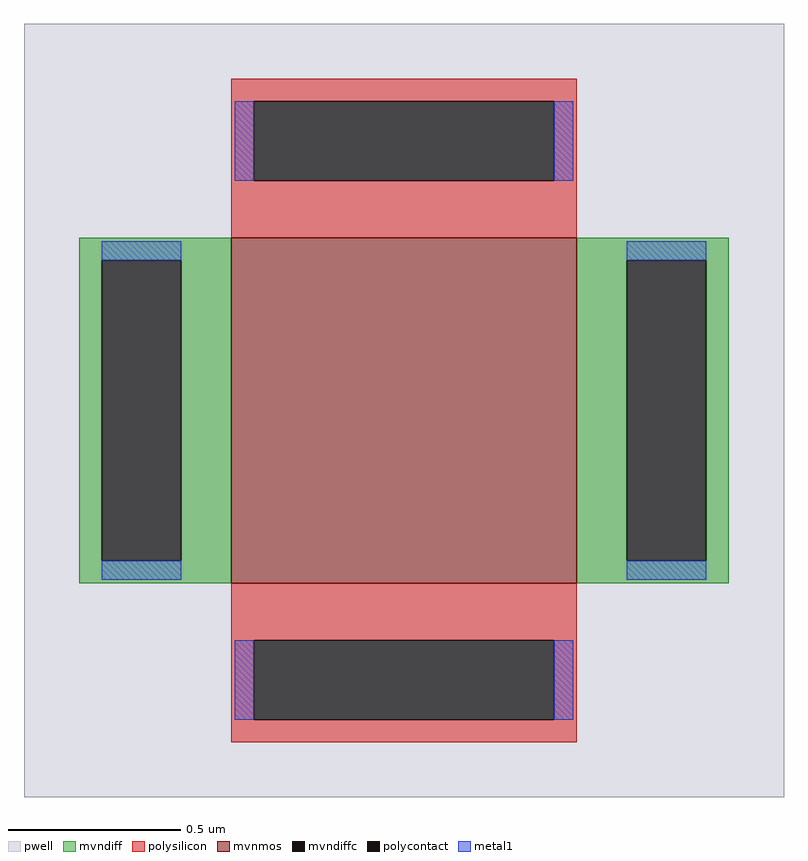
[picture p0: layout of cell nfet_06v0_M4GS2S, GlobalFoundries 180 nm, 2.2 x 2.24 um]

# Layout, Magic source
magic
tech gf180mcuD
magscale 1 10
<< pwell >>
rect -220 -224 220 224
<< mvnmos >>
rect -100 -100 100 100
<< mvndiff >>
rect -188 87 -100 100
rect -188 -87 -175 87
rect -129 -87 -100 87
rect -188 -100 -100 -87
rect 100 87 188 100
rect 100 -87 129 87
rect 175 -87 188 87
rect 100 -100 188 -87
<< mvndiffc >>
rect -175 -87 -129 87
rect 129 -87 175 87
<< polysilicon >>
rect -100 179 100 192
rect -100 133 -87 179
rect 87 133 100 179
rect -100 100 100 133
rect -100 -133 100 -100
rect -100 -179 -87 -133
rect 87 -179 100 -133
rect -100 -192 100 -179
<< polycontact >>
rect -87 133 87 179
rect -87 -179 87 -133
<< metal1 >>
rect -98 133 -87 179
rect 87 133 98 179
rect -175 87 -129 98
rect -175 -98 -129 -87
rect 129 87 175 98
rect 129 -98 175 -87
rect -98 -179 -87 -133
rect 87 -179 98 -133
<< properties >>
string gencell nfet_06v0
string library gf180mcu
string parameters w 1.0 l 1.0 m 1 nf 1 diffcov 100 polycov 100 guard 0 glc 1 grc 1 gtc 0 gbc 0 tbcov 100 rlcov 100 topc 1 botc 1 poverlap 0 doverlap 1 lmin 0.6 wmin 0.3 class mosfet full_metal 1 compatible {nfet_03v3 nfet_05v0 nfet_06v0 nfet_06v0_nvt}
<< end >>
